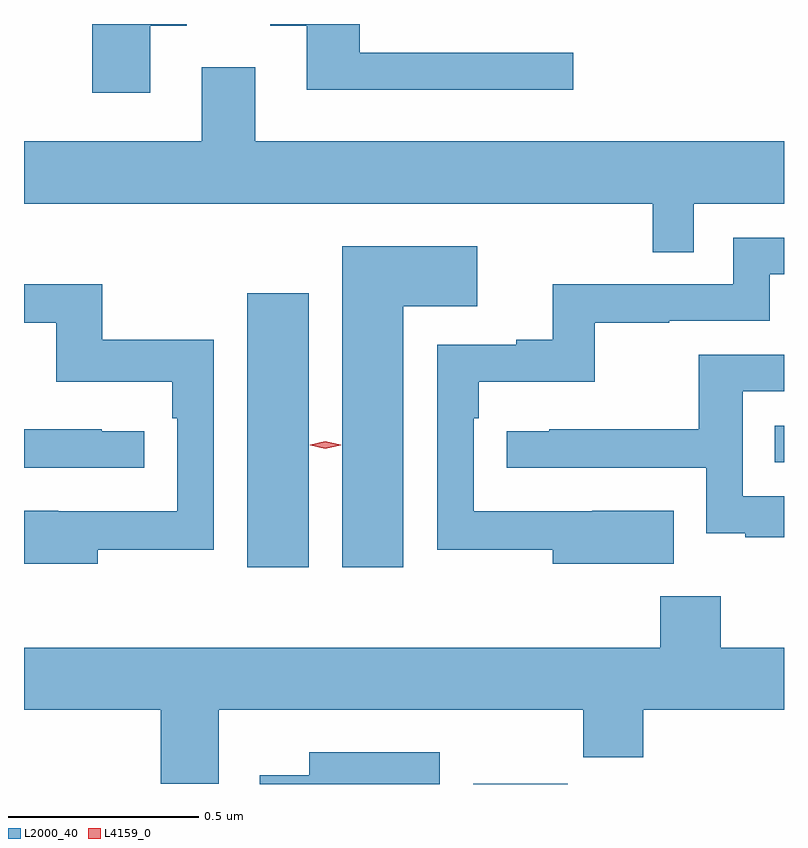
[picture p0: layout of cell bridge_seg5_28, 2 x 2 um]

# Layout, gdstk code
import gdstk
lib = gdstk.Library(unit=1e-6, precision=1e-09)
def R(c, l, rs):  # rectangles x0, y0, x1, y1
    for r in rs: c.add(gdstk.rectangle(r[:2], r[2:], *l))
def P(c, l, *ps):  # polygons
    for p in ps: c.add(gdstk.Polygon(p, *l))
L2000_40 = (2000, 40)
L4159_0 = (4159, 0)

bridge_seg5_28 = lib.new_cell('bridge_seg5_28')
R(bridge_seg5_28, L2000_40, [(1103.651,861.893,1103.9,861.894), (1103.057,862.464,1103.218,863.185), (1104.445,862.74,1104.469,862.836)])
P(bridge_seg5_28, L2000_40, [(1102.801,863.889),(1102.897,863.889),(1102.897,863.893),(1102.649,863.893),(1102.649,863.712),(1102.801,863.712)],
  [(1103.914,863.817),(1103.353,863.817),(1103.353,863.893),(1103.117,863.893),(1103.117,863.889),(1103.213,863.889),(1103.213,863.72),(1103.914,863.72)],
  [(1104.231,863.42),(1104.469,863.42),(1104.469,863.584),(1103.077,863.584),(1103.077,863.779),(1102.937,863.779),(1102.937,863.584),(1102.469,863.584),(1102.469,863.42),(1104.123,863.42),(1104.123,863.293),(1104.231,863.293)],
  [(1104.179,862.612),(1103.965,862.612),(1103.965,862.611),(1103.652,862.611),(1103.652,862.856),(1103.666,862.856),(1103.666,862.952),(1103.971,862.952),(1103.971,863.107),(1104.167,863.107),(1104.167,863.112),(1104.432,863.112),(1104.432,863.235),(1104.469,863.235),(1104.469,863.331),(1104.336,863.331),(1104.336,863.208),(1103.861,863.208),(1103.861,863.062),(1103.765,863.062),(1103.765,863.049),(1103.556,863.049),(1103.556,862.51),(1103.861,862.51),(1103.861,862.472),(1104.179,862.472)],
  [(1103.467,863.15),(1103.662,863.15),(1103.662,863.308),(1103.306,863.308),(1103.306,862.464),(1103.467,862.464)],
  [(1102.663,862.51),(1102.968,862.51),(1102.968,863.062),(1102.675,863.062),(1102.675,863.208),(1102.469,863.208),(1102.469,863.107),(1102.554,863.107),(1102.554,862.952),(1102.859,862.952),(1102.859,862.856),(1102.872,862.856),(1102.872,862.611),(1102.559,862.611),(1102.559,862.612),(1102.469,862.612),(1102.469,862.472),(1102.663,862.472)],
  [(1104.469,862.65),(1104.36,862.65),(1104.36,862.926),(1104.469,862.926),(1104.469,863.022),(1104.244,863.022),(1104.244,862.826),(1103.851,862.826),(1103.851,862.821),(1103.739,862.821),(1103.739,862.725),(1104.264,862.725),(1104.264,862.553),(1104.367,862.553),(1104.367,862.542),(1104.469,862.542)],
  [(1102.786,862.821),(1102.673,862.821),(1102.673,862.826),(1102.469,862.826),(1102.469,862.725),(1102.786,862.725)],
  [(1102.981,862.088),(1103.941,862.088),(1103.941,861.964),(1104.098,861.964),(1104.098,862.088),(1104.469,862.088),(1104.469,862.252),(1104.303,862.252),(1104.303,862.387),(1104.143,862.387),(1104.143,862.252),(1102.469,862.252),(1102.469,862.088),(1102.829,862.088),(1102.829,861.894),(1102.981,861.894)],
  [(1103.563,861.976),(1103.219,861.976),(1103.219,861.916),(1103.09,861.916),(1103.09,861.893),(1103.563,861.893)])
P(bridge_seg5_28, L4159_0, [(1103.262,862.775),(1103.222,862.785),(1103.222,862.785),(1103.222,862.786),(1103.262,862.795),(1103.302,862.786),(1103.302,862.785),(1103.302,862.785)])

lib.write_gds('bridge_seg5_28.gds')
